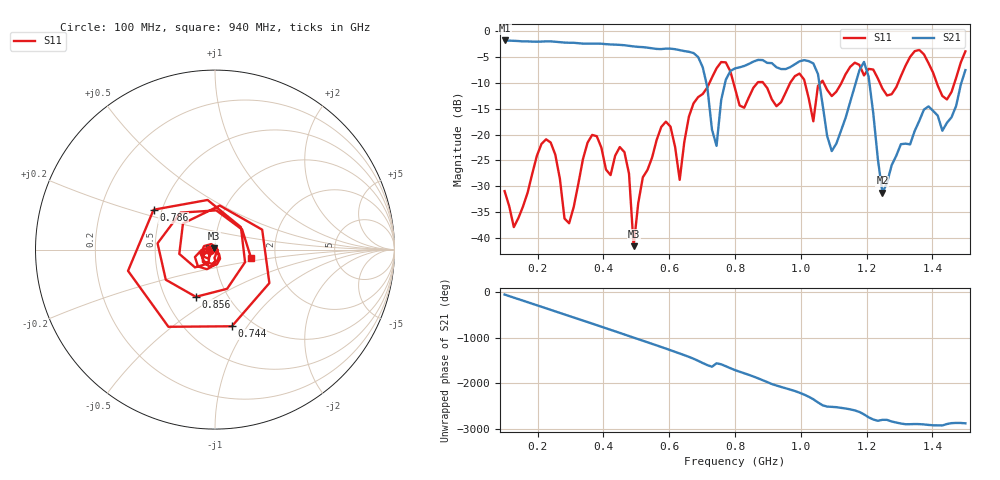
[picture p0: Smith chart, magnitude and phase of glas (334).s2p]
! NanoVNA-App
! Date: 2025-09-25 15:58:04
! Start: 100MHz Stop: 1,5GHz Points: 101
! S-Parameter data: F S11 S21 S12 S22
# Hz S RI R 50
!  Frequency  S11_Real  S11_Imag  S21_Real  S21_Imag  S12_Real  S12_Imag  S22_Real  S22_Imag
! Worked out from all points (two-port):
!   101 points, 100 MHz to 1.5 GHz, reference 50 ohm
!   highest |S21| = -1.80 dB at 100 MHz (marker M1); lowest = -31.3 dB at 1.248 GHz (marker M2)
!   |S21| within 3 dB of the highest: start of sweep to 684.2 MHz
!   lowest |S11| = -41.6 dB at 492 MHz (marker M3), VSWR 1.02, Z = 49.5 + j0.635 ohm
!   |S11| at or under -10 dB: start of sweep to 722.5 MHz; 795.4 MHz to 868.1 MHz (72.7 MHz wide, 8.74 % of centre); 885.9 MHz to 967.7 MHz (81.84 MHz wide, 8.83 % of centre) (the widest 3 of 7)
!   S12 and S22 are empty: the file has one direction only
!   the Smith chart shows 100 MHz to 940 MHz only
!   S11 on the Smith chart (normalised r, x): 100 MHz: 0.95, -0.01; 744 MHz: 0.81, -0.85; 786 MHz: 0.45, +0.24; 856 MHz: 0.71, -0.41; 940 MHz: 1.49, -0.14
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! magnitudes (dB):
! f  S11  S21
! 100 MHz  -30.9  -1.8
! 128 MHz  -37.9  -1.9
! 226 MHz  -20.9  -2.0
! 296 MHz  -37.2  -2.2
! 338 MHz  -24.8  -2.4
! 464 MHz  -23.4  -2.7
! 492 MHz  -41.6  -3.0
! 576 MHz  -18.5  -3.5
! 632 MHz  -28.8  -3.7
! 702 MHz  -12.2  -7.0
! 744 MHz  -7.2  -22.2
! 786 MHz  -7.8  -7.7
! 800 MHz  -11.1  -7.2
! 856 MHz  -10.9  -5.9
! 940 MHz  -13.7  -7.3
! 996 MHz  -8.2  -5.8
! 1.038 GHz  -17.4  -6.2
! 1.094 GHz  -12.6  -23.2
! 1.192 GHz  -8.6  -6.0
! 1.248 GHz  -11.1  -31.3
! 1.276 GHz  -12.2  -25.9
! 1.5 GHz  -3.9  -7.5
